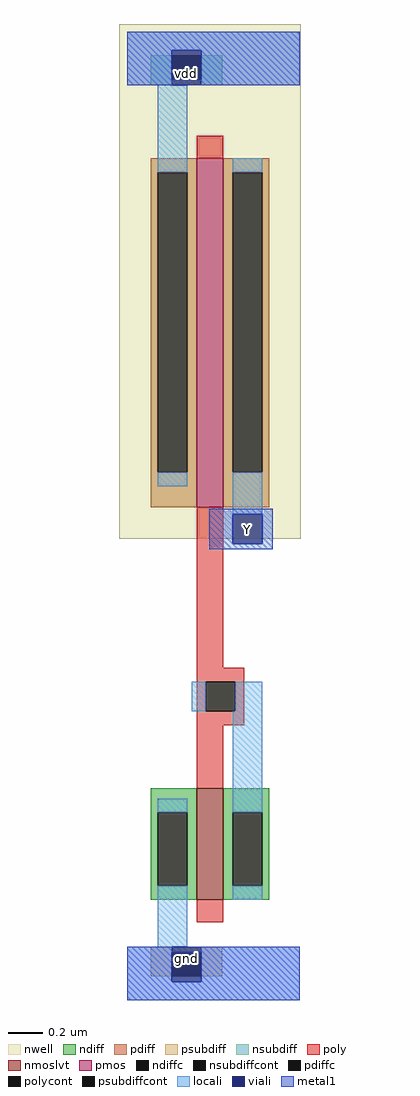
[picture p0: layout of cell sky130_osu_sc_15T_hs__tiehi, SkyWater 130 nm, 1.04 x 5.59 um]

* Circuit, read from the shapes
.subckt sky130_osu_sc_15T_hs__tiehi Y
XM1 n1 n1 gnd gnd sky130_fd_pr__nfet_01v8_lvt w=0.64 l=0.15
XM2 Y n1 vdd vdd sky130_fd_pr__pfet_01v8 w=2 l=0.15
.ends

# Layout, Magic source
magic
tech sky130A
magscale 1 2
<< nwell >>
rect -9 529 199 1119
<< nmoslvt >>
rect 80 115 110 243
<< pmos >>
rect 80 565 110 965
<< ndiff >>
rect 27 215 80 243
rect 27 131 35 215
rect 69 131 80 215
rect 27 115 80 131
rect 110 215 163 243
rect 110 131 121 215
rect 155 131 163 215
rect 110 115 163 131
<< pdiff >>
rect 27 949 80 965
rect 27 605 35 949
rect 69 605 80 949
rect 27 565 80 605
rect 110 949 163 965
rect 110 605 121 949
rect 155 605 163 949
rect 110 565 163 605
<< ndiffc >>
rect 35 131 69 215
rect 121 131 155 215
<< pdiffc >>
rect 35 605 69 949
rect 121 605 155 949
<< psubdiff >>
rect 27 27 51 61
rect 85 27 109 61
<< nsubdiff >>
rect 27 1049 51 1083
rect 85 1049 109 1083
<< psubdiffcont >>
rect 51 27 85 61
<< nsubdiffcont >>
rect 51 1049 85 1083
<< poly >>
rect 80 965 110 991
rect 80 381 110 565
rect 80 365 134 381
rect 80 331 90 365
rect 124 331 134 365
rect 80 315 134 331
rect 80 243 110 315
rect 80 89 110 115
<< polycont >>
rect 90 331 124 365
<< locali >>
rect 0 1089 198 1110
rect 0 1049 51 1089
rect 85 1049 198 1089
rect 35 949 69 1049
rect 35 589 69 605
rect 121 949 155 965
rect 121 557 155 605
rect 74 331 90 365
rect 124 331 155 365
rect 35 215 69 231
rect 35 61 69 131
rect 121 215 155 331
rect 121 115 155 131
rect 0 21 51 61
rect 85 21 198 61
rect 0 0 198 21
<< viali >>
rect 51 1083 85 1089
rect 51 1055 85 1083
rect 121 523 155 557
rect 51 27 85 55
rect 51 21 85 27
<< metal1 >>
rect 0 1089 198 1110
rect 0 1055 51 1089
rect 85 1055 198 1089
rect 0 1049 198 1055
rect 94 557 167 563
rect 94 523 121 557
rect 155 523 167 557
rect 94 517 167 523
rect 0 55 198 61
rect 0 21 51 55
rect 85 21 198 55
rect 0 0 198 21
<< labels >>
rlabel viali 138 540 138 540 1 Y
port 1 n
rlabel viali 68 48 68 48 1 gnd
rlabel viali 68 1062 68 1062 1 vdd
<< end >>
